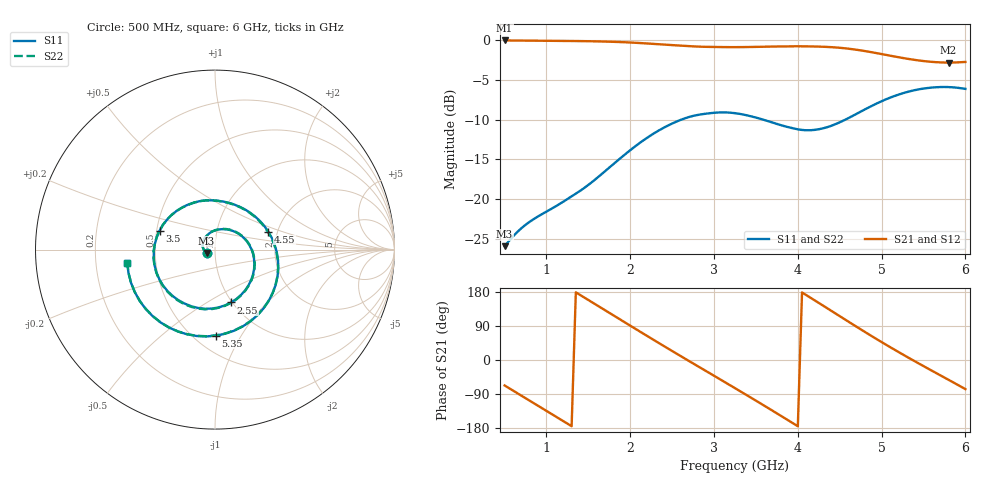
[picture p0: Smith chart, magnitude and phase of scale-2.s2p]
! Touchstone file from project sampleWidthScale-2
! Exported from HFSS-IE 2014.0.2
! Variables:
!  $perm = 6
!  impedance = 157.9ohm
!  insulationThickness = 0in
!  length = 4in
!  portSize = 1mm
!  sampleSide = 0.25in
!  sampleThickness = 0.25in
!  scale = 2
!  spacing = 0.25in
!  wireDiam = 0.125in
!  wireRadius = 0.0625in
# GHZ S MA R 157.900000
! Terminal data exported
! Port[1] = Rectangle2_T1
! Port[2] = Rectangle2_T2
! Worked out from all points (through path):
!   111 points, 500 MHz to 6 GHz, reference 157.9 ohm
!   highest |S21| = -0.02 dB at 500 MHz (marker M1); lowest = -2.8 dB at 5.8 GHz (marker M2)
!   group delay of S21, straight-line fit = 371 ps
!   lowest |S11| = -25.9 dB at 500 MHz (marker M3), VSWR 1.11, Z = 144 - j5.62 ohm
!   |S11| at or under -10 dB: start of sweep to 2.606 GHz; 3.59 GHz to 4.565 GHz (975 MHz wide, 23.9 % of centre)
!   |S22| runs from -25.9 to -5.9 dB; largest |S21 - S12| = 1.6e-14
!   S11 on the Smith chart (normalised r, x): 500 MHz: 0.91, -0.04; 2.55 GHz: 0.99, -0.64; 3.5 GHz: 0.52, +0.12; 4.55 GHz: 1.79, +0.40; 5.35 GHz: 0.63, -0.79; 6 GHz: 0.34, -0.07
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0.5  0.05058 -157.3  0.9981 -67.2  0.9981 -67.2  0.05059 -157.8
0.7  0.06559 175.7  0.9963 -94.1  0.9963 -94.1  0.06556 175.5
0.9  0.07791 148.8  0.9943 -120.9  0.9943 -120.9  0.07795 148.6
1.2  0.09638 108.5  0.9911 -161.2  0.9911 -161.2  0.09622 108.5
1.45  0.1176 74.3  0.9881 165.0  0.9881 165.0  0.1187 74.9
1.7  0.1501 40.9  0.982 131.2  0.982 131.2  0.1517 41.1
1.9  0.1844 13.9  0.9741 104.1  0.9741 104.1  0.1858 14.0
2.1  0.2232 -13.1  0.9625 77.1  0.9625 77.1  0.225 -13.0
2.35  0.2725 -46.5  0.9441 43.6  0.9441 43.6  0.2747 -46.6
2.55  0.3076 -73.0  0.9296 17.1  0.9296 17.1  0.3099 -73.1
2.9  0.345 -119.1  0.91 -28.6  0.91 -28.6  0.3485 -119.3
3.25  0.3478 -165.3  0.906 -74.3  0.906 -74.3  0.3489 -165.4
3.5  0.3263 161.3  0.9092 -107.3  0.9092 -107.3  0.3273 161.2
3.7  0.3034 134.3  0.9136 -134.1  0.9136 -134.1  0.3027 134.2
3.9  0.2829 107.4  0.9159 -161.2  0.9159 -161.2  0.2829 107.3
4.2  0.273 67.0  0.9142 157.6  0.9142 157.6  0.2719 66.6
4.55  0.3134 18.7  0.8921 108.7  0.8921 108.7  0.3114 18.4
4.8  0.3671 -16.2  0.856 74.2  0.856 74.2  0.3662 -16.3
5.1  0.4351 -56.9  0.8008 34.2  0.8008 34.2  0.4346 -57.0
5.35  0.4795 -89.3  0.7593 2.4  0.7593 2.4  0.4783 -89.3
5.8  0.5077 -145.9  0.7245 -52.4  0.7245 -52.4  0.5072 -145.9
6  0.4946 -171.5  0.7311 -76.8  0.7311 -76.8  0.4939 -171.5
